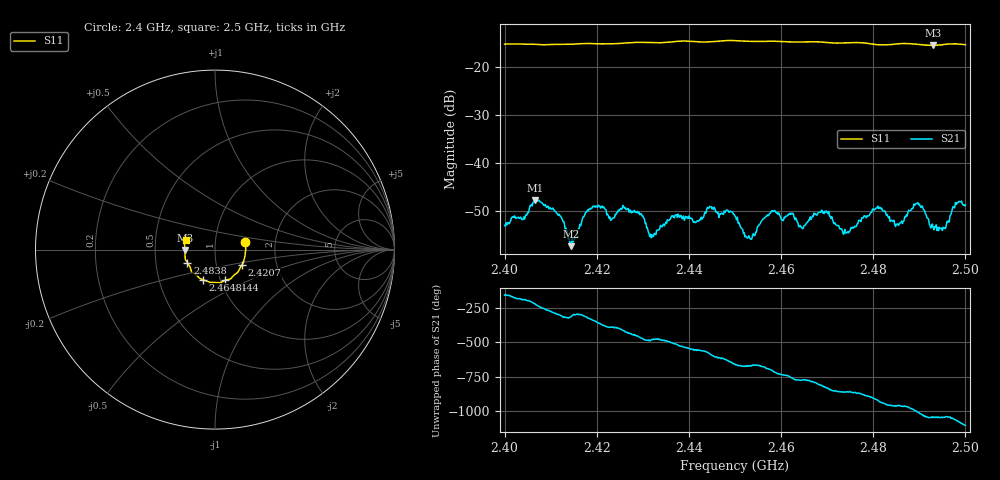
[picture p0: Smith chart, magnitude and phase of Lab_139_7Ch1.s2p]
# Hz S RI R 50
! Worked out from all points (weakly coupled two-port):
!   601 points, 2.4 GHz to 2.5 GHz, reference 50 ohm
!   highest |S21| = -47.74 dB at 2.4067 GHz (marker M1); lowest = -57.4 dB at 2.4143 GHz (marker M2)
!   lowest |S11| = -15.6 dB at 2.493 GHz (marker M3), VSWR 1.40, Z = 35.7 - j0.167 ohm
!   |S11| at or under -10 dB: start of sweep to end of sweep
!   S12 and S22 are empty: the file has one direction only
!   S11 on the Smith chart (normalised r, x): 2.4 GHz: 1.39, +0.12; 2.4207 GHz: 1.33, -0.23; 2.444 GHz: 1.05, -0.37; 2.4648 GHz: 0.83, -0.29; 2.4838 GHz: 0.73, -0.11; 2.5 GHz: 0.72, +0.08
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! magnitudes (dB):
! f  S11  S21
! 2.4 GHz  -15.3  -53.1
! 2.4067 GHz  -15.4  -47.7
! 2.412 GHz  -15.4  -51.1
! 2.4143 GHz  -15.4  -57.4
! 2.4167 GHz  -15.2  -52.5
! 2.4207 GHz  -15.3  -49.0
! 2.4287 GHz  -14.9  -50.3
! 2.4333 GHz  -15.0  -54.0
! 2.444 GHz  -14.9  -49.3
! 2.45 GHz  -14.6  -51.1
! 2.4532 GHz  -14.7  -55.7
! 2.4582 GHz  -14.7  -50.2
! 2.4648 GHz  -14.9  -53.6
! 2.4667 GHz  -14.8  -51.5
! 2.47 GHz  -15.0  -50.3
! 2.474 GHz  -15.0  -54.6
! 2.4805 GHz  -15.4  -49.6
! 2.4833 GHz  -15.4  -51.5
! 2.4838 GHz  -15.4  -52.1
! 2.4897 GHz  -15.4  -48.3
! 2.493 GHz  -15.6  -53.5
! 2.5 GHz  -15.4  -48.8
